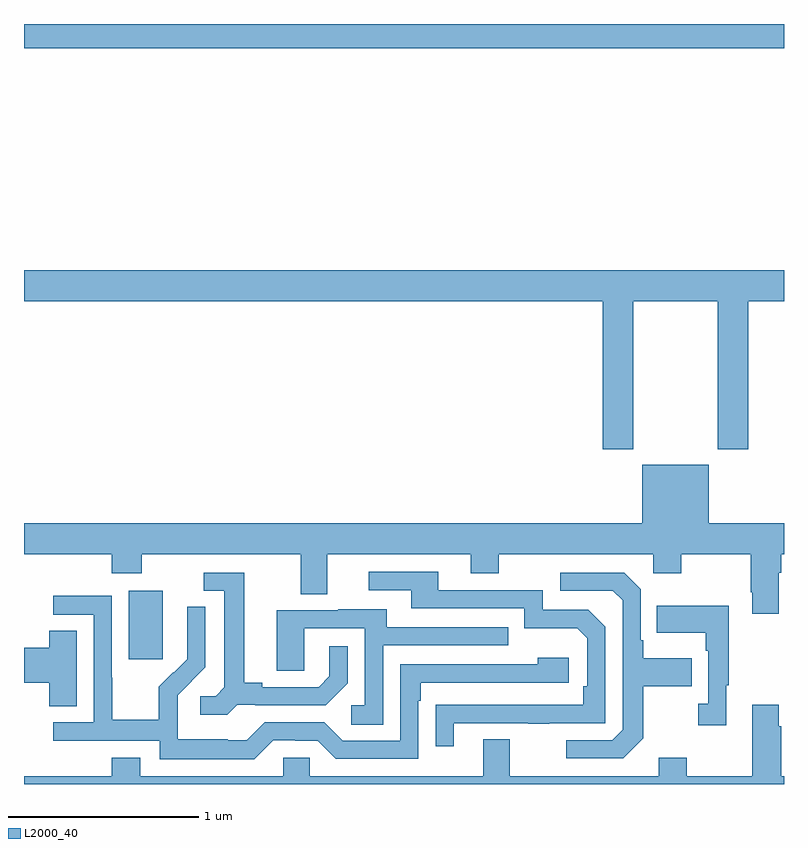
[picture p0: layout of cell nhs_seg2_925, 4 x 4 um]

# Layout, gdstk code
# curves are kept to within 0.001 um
import gdstk
lib = gdstk.Library(unit=1e-6, precision=1e-09)
def R(c, l, rs):  # rectangles x0, y0, x1, y1
    for r in rs: c.add(gdstk.rectangle(r[:2], r[2:], *l))
def P(c, l, *ps):  # polygons
    for p in ps: c.add(gdstk.Polygon(p, *l))
L2000_40 = (2000, 40)

nhs_seg2_925 = lib.new_cell('nhs_seg2_925')
R(nhs_seg2_925, L2000_40, [(159.551,608.457,159.73,608.818), (159,611.672,163,611.8)])
P(nhs_seg2_925, L2000_40, [(162.207,610.34),(162.652,610.34),(162.652,609.561),(162.812,609.561),(162.812,610.34),(163,610.34),(163,610.504),(159,610.504),(159,610.34),(162.047,610.34),(162.047,609.561),(162.207,609.561)],
  [(162.973,608.912),(162.986,608.912),(162.986,609.008),(163,609.008),(163,609.172),(162.604,609.172),(162.604,609.481),(162.254,609.481),(162.254,609.172),(159,609.172),(159,609.008),(159.461,609.008),(159.461,608.909),(159.621,608.909),(159.621,609.008),(160.457,609.008),(160.457,608.8),(160.597,608.8),(160.597,609.008),(161.351,609.008),(161.351,608.909),(161.499,608.909),(161.499,609.008),(162.312,609.008),(162.312,608.909),(162.459,608.909),(162.459,609.008),(162.826,609.008),(162.826,608.809),(162.833,608.809),(162.833,608.697),(162.973,608.697)],
  [(161.263,608.121),(161.653,608.121),(161.653,608.116),(161.765,608.116),(161.765,608.121),(162.06,608.121),(162.06,608.628),(161.97,608.718),(161.73,608.718),(161.73,608.82),(161.179,608.82),(161.179,608.916),(160.815,608.916),(160.815,608.82),(161.039,608.82),(161.039,608.724),(161.634,608.724),(161.634,608.621),(161.911,608.621),(161.964,608.568),(161.964,608.314),(161.944,608.314),(161.944,608.217),(161.167,608.216),(161.167,607.998),(161.263,607.998)],
  [(162.259,608.041),(162.259,608.314),(162.515,608.314),(162.515,608.461),(162.259,608.461),(162.259,608.557),(162.246,608.557),(162.246,608.826),(162.159,608.913),(161.823,608.913),(161.823,608.817),(162.099,608.817),(162.15,608.766),(162.15,608.085),(162.096,608.031),(161.853,608.031),(161.853,607.935),(162.153,607.935)],
  [(160.122,608.217),(160.216,608.217),(160.216,608.214),(160.588,608.214),(160.704,608.33),(160.704,608.524),(160.607,608.524),(160.607,608.367),(160.55,608.31),(160.255,608.31),(160.255,608.333),(160.159,608.333),(160.159,608.913),(159.945,608.913),(159.945,608.817),(160.055,608.817),(160.055,608.309),(160.008,608.262),(159.927,608.262),(159.927,608.165),(160.07,608.165)],
  [(160.311,608.031),(160.427,608.031),(160.427,608.028),(160.545,608.028),(160.641,607.932),(161.076,607.932),(161.076,608.237),(161.089,608.237),(161.089,608.334),(161.866,608.334),(161.866,608.464),(161.705,608.464),(161.705,608.43),(160.98,608.43),(160.98,608.028),(160.677,608.028),(160.581,608.124),(160.266,608.124),(160.173,608.031),(160.073,608.031),(160.073,608.035),(159.81,608.035),(159.81,608.169),(159.808,608.169),(159.808,608.266),(159.954,608.414),(159.954,608.732),(159.858,608.732),(159.858,608.578),(159.86,608.578),(159.86,608.456),(159.789,608.385),(159.786,608.388),(159.709,608.311),(159.709,608.137),(159.465,608.137),(159.465,608.36),(159.462,608.36),(159.462,608.79),(159.153,608.79),(159.153,608.691),(159.366,608.691),(159.366,608.124),(159.153,608.124),(159.153,608.028),(159.714,608.028),(159.714,607.931),(160.211,607.931)],
  [(162.697,608.321),(162.709,608.321),(162.709,608.737),(162.331,608.737),(162.331,608.597),(162.588,608.597),(162.588,608.501),(162.6,608.501),(162.6,608.222),(162.549,608.222),(162.549,608.109),(162.697,608.109)],
  [(160.89,608.529),(161.549,608.529),(161.549,608.625),(160.909,608.625),(160.909,608.719),(160.655,608.719),(160.655,608.715),(160.331,608.715),(160.331,608.395),(160.476,608.395),(160.476,608.619),(160.794,608.619),(160.794,608.214),(160.722,608.214),(160.722,608.113),(160.89,608.113)],
  [(159.277,608.606),(159.134,608.606),(159.134,608.516),(159,608.516),(159,608.333),(159.134,608.333),(159.134,608.209),(159.277,608.209)],
  [(163,607.84),(162.986,607.84),(162.986,608.105),(162.973,608.105),(162.973,608.218),(162.833,608.218),(162.833,607.84),(162.489,607.84),(162.489,607.939),(162.341,607.939),(162.341,607.84),(161.557,607.84),(161.557,608.035),(161.417,608.035),(161.417,607.84),(160.503,607.84),(160.503,607.938),(160.365,607.938),(160.365,607.84),(159.613,607.84),(159.613,607.939),(159.461,607.939),(159.461,607.84),(159,607.84),(159,607.8),(163,607.8)])

lib.write_gds('nhs_seg2_925.gds')
